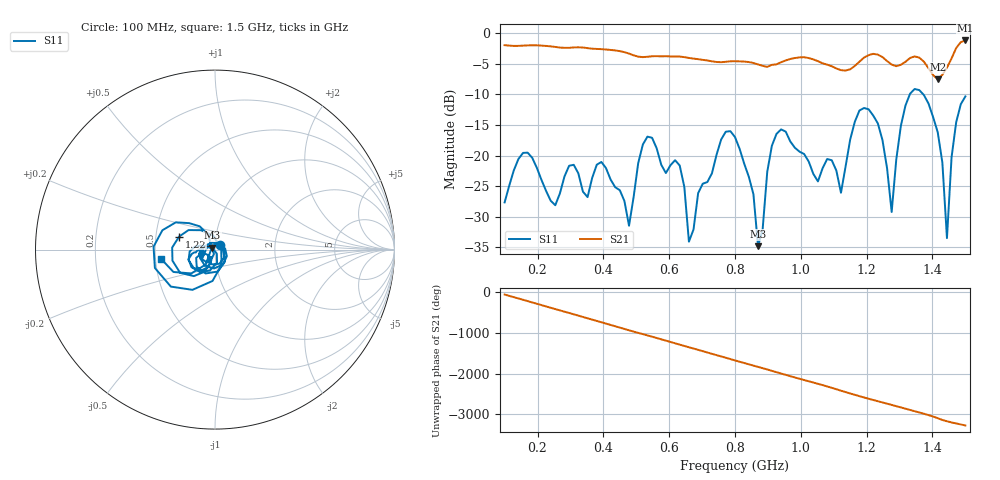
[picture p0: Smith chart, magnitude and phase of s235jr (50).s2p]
! NanoVNA-App
! Date: 2025-09-26 09:45:10
! Start: 100MHz Stop: 1,5GHz Points: 101
! S-Parameter data: F S11 S21 S12 S22
# Hz S RI R 50
!  Frequency  S11_Real  S11_Imag  S21_Real  S21_Imag  S12_Real  S12_Imag  S22_Real  S22_Imag
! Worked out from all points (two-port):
!   101 points, 100 MHz to 1.5 GHz, reference 50 ohm
!   highest |S21| = -1.19 dB at 1.5 GHz (marker M1); lowest = -7.5 dB at 1.416 GHz (marker M2)
!   |S21| within 3 dB of the highest: start of sweep to 678.8 MHz; 1.188 GHz to 1.254 GHz (66.33 MHz wide, 5.43 % of centre) (the widest 2 of 5)
!   lowest |S11| = -34.8 dB at 870 MHz (marker M3), VSWR 1.04, Z = 48.5 + j0.967 ohm
!   |S11| at or under -10 dB: start of sweep to 1.331 GHz; 1.372 GHz to end of sweep
!   S12 and S22 are empty: the file has one direction only
!   S11 on the Smith chart (normalised r, x): 100 MHz: 1.06, +0.06; 1.22 GHz: 0.66, +0.10; 1.5 GHz: 0.54, -0.06
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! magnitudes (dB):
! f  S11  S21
! 100 MHz  -27.7  -2.0
! 156 MHz  -19.6  -2.0
! 338 MHz  -25.9  -2.3
! 394 MHz  -21.0  -2.6
! 478 MHz  -31.5  -3.3
! 520 MHz  -18.2  -3.9
! 576 MHz  -21.5  -3.8
! 632 MHz  -21.6  -3.8
! 660 MHz  -34.1  -4.0
! 800 MHz  -17.0  -4.6
! 870 MHz  -34.8  -5.1
! 926 MHz  -16.5  -5.1
! 1.038 GHz  -23.0  -4.3
! 1.122 GHz  -26.1  -6.0
! 1.178 GHz  -12.6  -4.7
! 1.22 GHz  -13.5  -3.4
! 1.276 GHz  -29.2  -5.1
! 1.332 GHz  -9.9  -4.0
! 1.416 GHz  -16.2  -7.5
! 1.444 GHz  -33.5  -5.6
! 1.458 GHz  -20.3  -4.1
! 1.5 GHz  -10.3  -1.2
